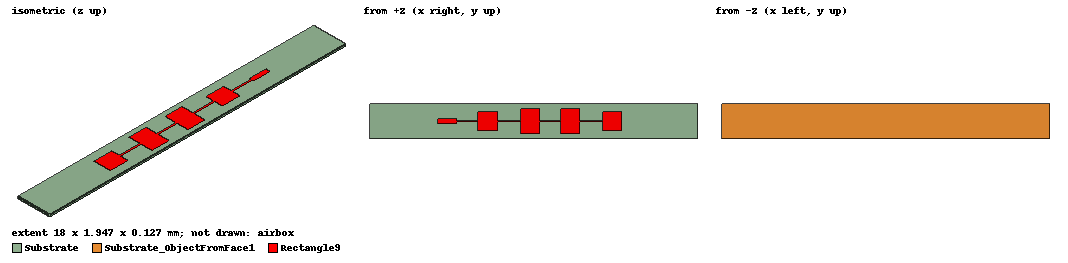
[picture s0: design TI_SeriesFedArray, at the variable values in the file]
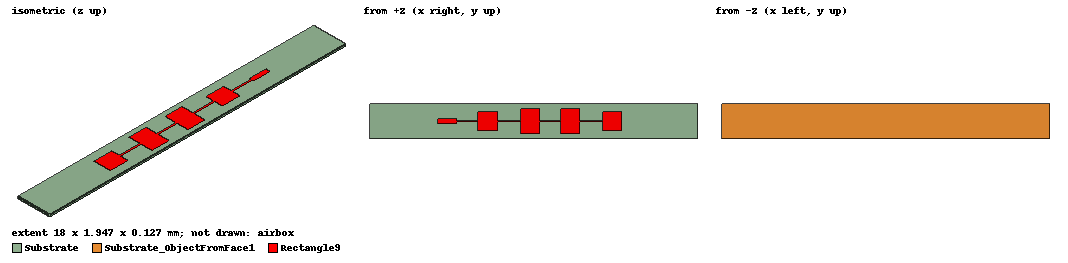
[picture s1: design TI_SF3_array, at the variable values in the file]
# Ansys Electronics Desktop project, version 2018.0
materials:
  vacuum: permittivity=1
  Rogers RO3003 (tm): permittivity=3 dielectric_loss_tangent=0.0013
  copper: permeability=0.999991 conductivity=58000000
  air: permittivity=1.0006 permeability=1.0000004

design HFSSDesign1 (HFSS, DrivenModal, model units mm)
options: open_region{BoundaryType=0 OpFreq=78GHz}
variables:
  sub_len_x = 30mm
  sub_width_y = 3mm
  h = 0.127mm
  L1 = 1.14mm
  Wf = 0.12mm
  Lp = 1.07mm
  W1 = 1.4mm
  L2 = 1.15m
  W2 = 1.28mm
  L3 = 1.16mm
  W3 = 1.07mm
  L4 = 1.16mm
  W4 = 0.8mm
  L5 = 1.17mm
  W5 = 0.31mm
  L6 = 1.43mm
  Lt = 1.12mm
  Wt = 0.55mm
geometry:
  RadiatingSurface [vacuum] = region(absolute_offset=1.2820513mm on all sides)
  Substrate [Rogers RO3003 (tm)] = box(corner=(-sub_len_x/2, -sub_width_y/2, 0mm), size=(sub_len_x, sub_width_y, h))
  GND [Rogers RO3003 (tm)] = object_from(Substrate.face(-z))
  Rectangle1 = rectangle(corner=(-L1/2, -Wf/2, h), x_size=L1, y_size=Wf)
  Rectangle2 = rectangle(corner=(L1/2, -W1/2, h), x_size=Lp, y_size=W1)
  Rectangle1_ObjectFromFace1 = object_from(Rectangle8_ObjectFromFace1_1_1.face(#84))
  Rectangle2_ObjectFromFace1 = object_from(Rectangle8_ObjectFromFace1_1_1.face(#96))
  Rectangle2_ObjectFromFace1_1 = Rectangle2_ObjectFromFace1.duplicate_along_line(step=(-Lp-L1, 0mm, 0mm), total=2)
  Rectangle2_ObjectFromFace1.unite(Rectangle1_ObjectFromFace1, Rectangle2_ObjectFromFace1_1)
  Rectangle2.unite(Rectangle1, Rectangle2_ObjectFromFace1)
  Rectangle3 = rectangle(corner=(Lp+L1/2, -Wf/2, h), x_size=L2, y_size=Wf)
  Rectangle3_ObjectFromFace1 = object_from(Rectangle8_ObjectFromFace1_1_1.face(#152))
  Rectangle3_ObjectFromFace1_1 = Rectangle3_ObjectFromFace1.duplicate_along_line(step=(-2*Lp-L1-L2, 0mm, 0mm), total=2)
  Rectangle3_ObjectFromFace1_1.unite(Rectangle2, Rectangle3_ObjectFromFace1)
  Rectangle3.unite(Rectangle3_ObjectFromFace1_1)
  Rectangle4 = rectangle(corner=(L1/2+Lp+L2, -W2/2, h), x_size=Lp, y_size=W2)
  Rectangle4_ObjectFromFace1 = object_from(Rectangle8_ObjectFromFace1_1_1.face(#194))
  Rectangle4_ObjectFromFace1_1 = Rectangle4_ObjectFromFace1.duplicate_along_line(step=(-2*Lp-2*L2-L1-Lp, 0mm, 0mm), total=2)
  Rectangle4_ObjectFromFace1.unite(Rectangle3, Rectangle4_ObjectFromFace1_1)
  Rectangle4.unite(Rectangle4_ObjectFromFace1)
  Rectangle5 = rectangle(corner=(-L1/2-2*Lp-L2-L3, -Wf/2, h), x_size=L3, y_size=Wf)
  Rectangle6 = rectangle(corner=(-L1/2-3*Lp-L2-L3, -W3/2, h), x_size=Lp, y_size=W3)
  Rectangle5_ObjectFromFace1 = object_from(Rectangle8_ObjectFromFace1_1_1.face(#238))
  Rectangle6_ObjectFromFace1 = object_from(Rectangle8_ObjectFromFace1_1_1.face(#250))
  Rectangle7 = rectangle(corner=(-L1/2-3*Lp-L2-L3-L4, -Wf/2, h), x_size=L4, y_size=Wf)
  Rectangle8 = rectangle(corner=(-L1/2-Lp*4-L2-L3-L4, -W4/2, h), x_size=Lp, y_size=W4)
  Rectangle9 = rectangle(corner=(-Lp*4-L1/2-L2-L3-L4-L5, -Wf/2, h), x_size=L5, y_size=Wf)
  Rectangle10 = rectangle(corner=(-Lp*5-L1/2-L2-L3-L4-L5, -W5/2, h), x_size=Lp, y_size=W5)
  Rectangle7_ObjectFromFace1 = object_from(Rectangle8_ObjectFromFace1_1_1.face(#286))
  Rectangle8_ObjectFromFace1 = object_from(Rectangle8_ObjectFromFace1_1_1.face(#298))
  Rectangle9_ObjectFromFace1 = object_from(Rectangle8_ObjectFromFace1_1_1.face(#310))
  Rectangle10_ObjectFromFace1 = object_from(Rectangle8_ObjectFromFace1_1_1.face(#322))
  Rectangle5_ObjectFromFace1.unite(Rectangle6_ObjectFromFace1)
  Rectangle5.unite(Rectangle6)
  Rectangle7_ObjectFromFace1.unite(Rectangle5_ObjectFromFace1)
  Rectangle7.unite(Rectangle5)
  Rectangle8_ObjectFromFace1.unite(Rectangle7_ObjectFromFace1)
  Rectangle7.unite(Rectangle8)
  Rectangle8_ObjectFromFace1.unite(Rectangle9_ObjectFromFace1)
  Rectangle7.unite(Rectangle9)
  Rectangle8_ObjectFromFace1.unite(Rectangle10_ObjectFromFace1)
  Rectangle7.unite(Rectangle10)
  Rectangle8_ObjectFromFace1_1 = Rectangle8_ObjectFromFace1.duplicate_along_line(step=(7*Lp+L1+2*L2+L3+L4+L5, 0mm, 0mm), total=2)
  Rectangle8_ObjectFromFace1_1.unite(Rectangle4)
  Rectangle8_ObjectFromFace1_1.unite(Rectangle7)
  Rectangle8_ObjectFromFace1_1.unite(Rectangle8_ObjectFromFace1)
  Rectangle8_ObjectFromFace1_1.split(plane=YZ, keep=Both)
  Rectangle8_ObjectFromFace1_1_1 = Rectangle8_ObjectFromFace1_1.duplicate_around_axis(axis=Z, angle=180deg, total=2)
  Rectangle8_ObjectFromFace1_1_1.unite(Rectangle8_ObjectFromFace1_1)
  Rectangle11 = rectangle(corner=(5*Lp+L1/2+L2+L3+L4+L5, -Wf/2, h), x_size=L6, y_size=Wf)
  Rectangle12 = rectangle(corner=(Lp*5+L1/2+L2+L3+L4+L5+L6, -Wt/2, h), x_size=Lt, y_size=Wt)
  Rectangle11_ObjectFromFace1 = object_from(Rectangle8_ObjectFromFace1_1_1.face(#696))
  Rectangle12_ObjectFromFace1 = object_from(Rectangle8_ObjectFromFace1_1_1.face(#708))
  Rectangle12_ObjectFromFace1.unite(Rectangle11_ObjectFromFace1)
  Rectangle12.unite(Rectangle11)
  Rectangle8_ObjectFromFace1_1_1.unite(Rectangle12_ObjectFromFace1)
  Rectangle8_ObjectFromFace1_1_1.unite(Rectangle12)
  Lump_Port = rectangle(corner=(Lp*5+L1/2+L2+L3+L4+L5+L6+Lt, -Wt/2, 0mm), y_size=Wt, z_size=h)
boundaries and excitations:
  AutoOpen1: Radiation Objects=RadiatingSurface
  FiniteCond1: Finite Conductivity Faces=GND.face UseMaterial Material=copper IsInternal
  FiniteCond2: Finite Conductivity Objects=Rectangle8_ObjectFromFace1_1_1 UseMaterial Material=copper IsInternal
  1: Lumped Port Objects=Lump_Port Modes{Mode1{IntLine{middle of Lump_Port.edge(z at corner) -> middle of Lump_Port.edge(z opposite corner)} CharImp=Zpi RenormImp=50ohm}} Impedance=50ohm
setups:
  Auto1: HfssDriven Frequency=78GHz MaxDeltaS=0.02 MaximumPasses=15 MinimumPasses=1 MinimumConvergedPasses=1 PercentRefinement=30 BasisOrder=1 PortAccuracy=2
    sweep Sweep: 76GHz to 81GHz step 0.05GHz; Type=Interpolating InterpTolerance=0.5 InterpMaxSolns=250 InterpUsePortImped=false PassivityErrorTolerance=0.0001
    sweep Single_point: point 78GHz; Type=Discrete
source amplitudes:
  1:1: 1W 0deg
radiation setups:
  3D: Infinite Sphere Theta=0deg..180deg step 2deg Phi=-180deg..180deg step 2deg
  Elevation: Infinite Sphere Theta=-180deg..180deg step 1deg Phi=0deg..90deg step 90deg
  Azimuth: Infinite Sphere Theta=90deg..90deg step 0deg Phi=-180deg..180deg step 1deg
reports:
  S Parameter Plot 1: dB(S(1,1)) vs Freq on Auto1 : Sweep; markers MX1 at x=7.855563e+10
  Gain Plot 1: dB(GainTotal) vs Phi, Theta on Auto1 : LastAdaptive, 3D [Freq=78GHz]
  Gain Plot 3: dB(GainTotal) vs Phi on Auto1 : LastAdaptive, Azimuth [Theta=all Freq=78GHz]
  Z Parameter Plot 1: re(Z(1,1)), im(Z(1,1)) vs Freq on Auto1 : Sweep; markers MX1 at x=7.8203791e+10

design HFSSDesign2 (HFSS, DrivenModal, model units mm)
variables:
  sub_width_y = 3mm
  sub_len_x = 30mm
  h = 0.127mm
  L3 = 1.16mm
  L1 = 1.14mm
  Wf = 0.12mm
  Lp = 1.07mm
  W1 = 1.4mm
  L2 = 1.15m
  W2 = 1.28mm
  L4 = 1.16mm
  W4 = 0.8mm
  W3 = 1.07mm
  Wt = 0.55mm
  L6 = 1.43mm
  W5 = 0.31mm
  Lt = 1.12mm
  L5 = 1.17mm
  labda_by_2 = 7.6923mm
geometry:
  Substrate [Rogers RO3003 (tm)] = box(corner=(-sub_len_x/2, -sub_width_y/2, 0mm), size=(sub_len_x, sub_width_y, h))
  GND [Rogers RO3003 (tm)] = object_from(Substrate.face(2 of 6))
  Rectangle8 = rectangle(corner=(-L1/2-Lp*4-L2-L3-L4, -W4/2, h), x_size=Lp, y_size=W4)
  Rectangle8_ObjectFromFace1 = object_from(Rectangle8_ObjectFromFace1_1_1.face(#389))
  Rectangle7 = rectangle(corner=(-L1/2-3*Lp-L2-L3-L4, -Wf/2, h), x_size=L4, y_size=Wf)
  Rectangle7_ObjectFromFace1 = object_from(Rectangle8_ObjectFromFace1_1_1.face(#364))
  Rectangle5 = rectangle(corner=(-L1/2-2*Lp-L2-L3, -Wf/2, h), x_size=L3, y_size=Wf)
  Rectangle5_ObjectFromFace1 = object_from(Rectangle8_ObjectFromFace1_1_1.face(#310))
  Rectangle6 = rectangle(corner=(-L1/2-3*Lp-L2-L3, -W3/2, h), x_size=Lp, y_size=W3)
  Rectangle6_ObjectFromFace1 = object_from(Rectangle8_ObjectFromFace1_1_1.face(#326))
  Rectangle5_ObjectFromFace1.unite(Rectangle6_ObjectFromFace1)
  Rectangle7_ObjectFromFace1.unite(Rectangle5_ObjectFromFace1)
  Rectangle8_ObjectFromFace1.unite(Rectangle7_ObjectFromFace1)
  Rectangle9 = rectangle(corner=(-Lp*4-L1/2-L2-L3-L4-L5, -Wf/2, h), x_size=L5, y_size=Wf)
  Rectangle9_ObjectFromFace1 = object_from(Rectangle8_ObjectFromFace1_1_1.face(#402))
  Rectangle8_ObjectFromFace1.unite(Rectangle9_ObjectFromFace1)
  Rectangle10 = rectangle(corner=(-Lp*5-L1/2-L2-L3-L4-L5, -W5/2, h), x_size=Lp, y_size=W5)
  Rectangle10_ObjectFromFace1 = object_from(Rectangle8_ObjectFromFace1_1_1.face(#415))
  Rectangle8_ObjectFromFace1.unite(Rectangle10_ObjectFromFace1)
  Rectangle8_ObjectFromFace1_1 = Rectangle8_ObjectFromFace1.duplicate_along_line(step=(7*Lp+L1+2*L2+L3+L4+L5, 0mm, 0mm), total=2)
  Rectangle4 = rectangle(corner=(L1/2+Lp+L2, -W2/2, h), x_size=Lp, y_size=W2)
  Rectangle4_ObjectFromFace1 = object_from(Rectangle8_ObjectFromFace1_1_1.face(#266))
  Rectangle4_ObjectFromFace1_1 = Rectangle4_ObjectFromFace1.duplicate_along_line(step=(-2*Lp-2*L2-L1-Lp, 0mm, 0mm), total=2)
  Rectangle3 = rectangle(corner=(Lp+L1/2, -Wf/2, h), x_size=L2, y_size=Wf)
  Rectangle3_ObjectFromFace1 = object_from(Rectangle8_ObjectFromFace1_1_1.face(#224))
  Rectangle3_ObjectFromFace1_1 = Rectangle3_ObjectFromFace1.duplicate_along_line(step=(-2*Lp-L1-L2, 0mm, 0mm), total=2)
  Rectangle2 = rectangle(corner=(L1/2, -W1/2, h), x_size=Lp, y_size=W1)
  Rectangle2_ObjectFromFace1 = object_from(Rectangle8_ObjectFromFace1_1_1.face(#169))
  Rectangle1 = rectangle(corner=(-L1/2, -Wf/2, h), x_size=L1, y_size=Wf)
  Rectangle1_ObjectFromFace1 = object_from(Rectangle8_ObjectFromFace1_1_1.face(#156))
  Rectangle2_ObjectFromFace1_1 = Rectangle2_ObjectFromFace1.duplicate_along_line(step=(-Lp-L1, 0mm, 0mm), total=2)
  Rectangle2_ObjectFromFace1.unite(Rectangle1_ObjectFromFace1, Rectangle2_ObjectFromFace1_1)
  Rectangle2.unite(Rectangle1, Rectangle2_ObjectFromFace1)
  Rectangle3_ObjectFromFace1_1.unite(Rectangle2, Rectangle3_ObjectFromFace1)
  Rectangle3.unite(Rectangle3_ObjectFromFace1_1)
  Rectangle4_ObjectFromFace1.unite(Rectangle3, Rectangle4_ObjectFromFace1_1)
  Rectangle4.unite(Rectangle4_ObjectFromFace1)
  Rectangle8_ObjectFromFace1_1.unite(Rectangle4)
  Rectangle5.unite(Rectangle6)
  Rectangle7.unite(Rectangle5)
  Rectangle7.unite(Rectangle8)
  Rectangle7.unite(Rectangle9)
  Rectangle7.unite(Rectangle10)
  Rectangle8_ObjectFromFace1_1.unite(Rectangle7)
  Rectangle8_ObjectFromFace1_1.unite(Rectangle8_ObjectFromFace1)
  Rectangle8_ObjectFromFace1_1.split(plane=YZ, keep=Both)
  Rectangle8_ObjectFromFace1_1_1 = Rectangle8_ObjectFromFace1_1.duplicate_around_axis(axis=Z, angle=180deg, total=2)
  Rectangle8_ObjectFromFace1_1_1.unite(Rectangle8_ObjectFromFace1_1)
  Rectangle12 = rectangle(corner=(Lp*5+L1/2+L2+L3+L4+L5+L6, -Wt/2, h), x_size=Lt, y_size=Wt)
  Rectangle12_ObjectFromFace1 = object_from(Rectangle8_ObjectFromFace1_1_1.face(#562))
  Rectangle11 = rectangle(corner=(5*Lp+L1/2+L2+L3+L4+L5, -Wf/2, h), x_size=L6, y_size=Wf)
  Rectangle11_ObjectFromFace1 = object_from(Rectangle8_ObjectFromFace1_1_1.face(#549))
  Rectangle12_ObjectFromFace1.unite(Rectangle11_ObjectFromFace1)
  Rectangle8_ObjectFromFace1_1_1.unite(Rectangle12_ObjectFromFace1)
  Rectangle12.unite(Rectangle11)
  Rectangle8_ObjectFromFace1_1_1.unite(Rectangle12)
  Lump_Port = rectangle(corner=(Lp*5+L1/2+L2+L3+L4+L5+L6+Lt, -Wt/2, 0mm), y_size=Wt, z_size=h)
  [Substrate, GND, Rectangle8_ObjectFromFace1_1_1, Lump_Port].rotate(axis=Z, angle=90deg)
  Box1 [air] = box(corner=(-labda_by_2/2, -50mm, -50mm), size=(labda_by_2, 100mm, 100mm))
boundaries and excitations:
  FiniteCond1: Finite Conductivity Objects=Rectangle8_ObjectFromFace1_1_1 UseMaterial Material=copper IsInternal
  FiniteCond2: Finite Conductivity Objects=GND UseMaterial Material=copper IsInternal
  Master1: Master Faces=Box1.face(-x) CoordSysVector{Box1.vertex(8 of 8) -> Box1.vertex(7 of 8)} ReverseV
  Slave1: Slave Faces=Box1.face(+x) CoordSysVector{Box1.vertex(5 of 8) -> Box1.vertex(6 of 8)} master=Master1 UseScanAngles Phi=0deg Theta=0deg
  Master2: Master Faces=Box1.face(+y) CoordSysVector{Box1.vertex(8 of 8) -> Box1.vertex(5 of 8)}
  Slave2: Slave Faces=Box1.face(-y) CoordSysVector{Box1.vertex(7 of 8) -> Box1.vertex(6 of 8)} ReverseV master=Master2 UseScanAngles Phi=0deg Theta=0deg
  Rad1: Radiation Faces=Box1.face(+z)
  Rad2: Radiation Faces=Box1.face(-z)
  1: Lumped Port Objects=Lump_Port Modes{Mode1{IntLine{middle of Lump_Port.edge(1 of 4) -> middle of Lump_Port.edge(3 of 4)} CharImp=Zpi RenormImp=50ohm}} Impedance=50ohm
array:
  Type=Regular Name=A UseAirObjects RowMasterBnd=Master1 ColumnMasterBnd=Master2 RowDimension=3 ColumnDimension=1 PostProcessRow=1 PostProcessCol=1 Padding=1
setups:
  Setup1: HfssDriven Frequency=78GHz MaxDeltaS=0.02 MaximumPasses=10 MinimumPasses=1 MinimumConvergedPasses=1 PercentRefinement=30 BasisOrder=1 PortAccuracy=2 UseDomains DDMSolverResidual=0.0001
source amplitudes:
  1:1: 1 0deg
  1:2, 1:3: 0 0deg

design TI_SeriesFedArray (HFSS, DrivenModal, model units mm)
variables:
  sub_len_x = 30mm
  sub_width_y = (3.89341/2) mm
  h = 0.127mm
  F2_w = 10.62mil
  A = 39.37mil
  F3_w = 3.94mil
  B1 = 47.34mil
  C1 = 42.52mil
  E1 = 39.38mil
  B2 = 49.21mil
  E2 = 55.12mil
  C2 = 40.95mil
  B3 = 45.27mil
  B4 = 49.21mil
  sub_width_y1 = 3.89mm
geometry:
  Substrate [Rogers RO3003 (tm)] = box(corner=(-(sub_len_x/2)/4, -sub_width_y/2, -h), size=(sub_len_x*0.6, sub_width_y, h))
  Rectangle1 = rectangle(corner=(0mm, -F2_w/2, 0mm), x_size=A, y_size=F2_w)
  Rectangle2 = rectangle(corner=(A, -F3_w/2, 0mm), x_size=B1, y_size=F3_w)
  Rectangle3 = rectangle(corner=(A+B1, -E1/2, 0mm), x_size=C1, y_size=E1)
  Rectangle4 = rectangle(corner=(A+B1+C1, -F3_w/2, 0mm), x_size=B2, y_size=F3_w)
  Rectangle5 = rectangle(corner=(A+B1+C1+B2, -E2/2, 0mm), x_size=C2, y_size=E2)
  Rectangle6 = rectangle(corner=(A+B1+C1+B2+C2, -F3_w/2, 0mm), x_size=B3, y_size=F3_w)
  Rectangle7 = rectangle(corner=(A+B1+C1+B2+C2+B3, -E2/2, 0mm), x_size=C2, y_size=E2)
  Rectangle8 = rectangle(corner=(A+B1+C1+B2+C2+B3+C2, -F3_w/2, 0mm), x_size=B4, y_size=F3_w)
  Rectangle9 = rectangle(corner=(A+B1+C1+B2+C2+B3+C2+B4, -E1/2, 0mm), x_size=C1, y_size=E1)
  Rectangle1_ObjectFromFace1 = object_from(Rectangle9.face(#44))
  Rectangle2_ObjectFromFace1 = object_from(Rectangle2.face(#56))
  Rectangle2.delete()
  Rectangle3_ObjectFromFace1 = object_from(Rectangle9.face(#68))
  Rectangle4_ObjectFromFace1 = object_from(Rectangle4.face(#80))
  Rectangle5_ObjectFromFace1 = object_from(Rectangle4.face(#92))
  Rectangle6_ObjectFromFace1 = object_from(Rectangle9.face(#104))
  Rectangle7_ObjectFromFace1 = object_from(Rectangle9.face(#116))
  Rectangle8_ObjectFromFace1 = object_from(Rectangle9.face(#128))
  Rectangle9_ObjectFromFace1 = object_from(Rectangle9.face(at (9.55243, 0, 0)))
  Rectangle1_ObjectFromFace1.unite(Rectangle2_ObjectFromFace1, Rectangle3_ObjectFromFace1, Rectangle4_ObjectFromFace1, Rectangle5_ObjectFromFace1, Rectangle6_ObjectFromFace1, Rectangle7_ObjectFromFace1, Rectangle8_ObjectFromFace1, Rectangle9_ObjectFromFace1)
  Rectangle1.unite(Rectangle1_ObjectFromFace1)
  Rectangle9.unite(Rectangle8)
  Rectangle9.unite(Rectangle7)
  Rectangle9.unite(Rectangle1)
  Rectangle9.unite(Rectangle6)
  Rectangle4.unite(Rectangle5)
  Rectangle4.delete()
  Rectangle9.unite(Rectangle3)
  Substrate_ObjectFromFace1 [Rogers RO3003 (tm)] = object_from(Substrate.face(-z))
  Rectangle10 = rectangle(corner=(0mm, -F2_w/2, -h), y_size=F2_w, z_size=h)
  Rectangle10_ObjectFromFace1 = object_from(Rectangle10.face(#306))
  Rectangle10.delete()
  airbox [vacuum] = region(absolute_offset: +X=1.2820513mm, -X=1.2820513mm, +Y=0mm, -Y=0mm, +Z=1.2820513mm, -Z=0.28205128mm)
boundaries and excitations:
  FiniteCond1: Finite Conductivity Objects=Rectangle9 UseMaterial Material=copper IsInternal
  FiniteCond2: Finite Conductivity Objects=Substrate_ObjectFromFace1 UseMaterial Material=copper IsInternal
  Master1: Master Faces=airbox.face(+y) CoordSysVector{airbox.vertex(2 of 8) -> airbox.vertex(3 of 8)}
  Slave1: Slave Faces=airbox.face(-y) CoordSysVector{airbox.vertex(1 of 8) -> airbox.vertex(4 of 8)} ReverseV master=Master1 UseScanAngles Phi=0deg Theta=0deg
  Master2: Master Faces=airbox.face(-x) CoordSysVector{airbox.vertex(3 of 8) -> airbox.vertex(4 of 8)}
  Slave2: Slave Faces=airbox.face(+x) CoordSysVector{airbox.vertex(2 of 8) -> airbox.vertex(1 of 8)} ReverseV master=Master2 UseScanAngles Phi=0deg Theta=0deg
  Rad1: Radiation Faces=airbox.face(+z)
  1: Lumped Port Objects=Rectangle10_ObjectFromFace1 Modes{Mode1{IntLine{middle of Rectangle10_ObjectFromFace1.edge(at (0, 0, -0.127)) -> middle of Rectangle10_ObjectFromFace1.edge(at (0, 0, 0))} CharImp=Zpi RenormImp=50ohm}} Impedance=50ohm
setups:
  Setup1: HfssDriven Frequency=77GHz MaxDeltaS=0.02 MaximumPasses=15 MinimumPasses=1 MinimumConvergedPasses=1 PercentRefinement=30 BasisOrder=1 PortAccuracy=2
    sweep Sweep: 76GHz to 81GHz step 0.02GHz; Type=Interpolating InterpTolerance=0.5 InterpMaxSolns=250 InterpUsePortImped=false PassivityErrorTolerance=0.0001
    sweep Sweep1: point 78GHz; Type=Discrete
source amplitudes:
  1:1: 1W 0deg
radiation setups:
  Infinite Sphere1: Infinite Sphere Theta=0deg..180deg step 2deg Phi=-180deg..180deg step 2deg
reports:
  S Parameter Plot 1: dB(S(1,1)) vs Freq on Setup1 : Sweep
  S Parameter Plot 2: dB(S(1,1)) vs Freq on Setup1 : Sweep
  Directivity Plot 1: DirTotal vs Phi, Theta on Setup1 : LastAdaptive, Infinite Sphere1 [Freq=77GHz]
  Gain Plot 1: GainTotal vs Theta on Setup1 : LastAdaptive, Infinite Sphere1 [Theta=0deg Phi=all Freq=77GHz]; dB(GainTotal) vs Phi on Setup1 : LastAdaptive, Infinite Sphere1 [Theta=90deg Freq=77GHz]
  Gain Plot 2: dB(GainTotal) vs Theta on Setup1 : LastAdaptive, Infinite Sphere1 [Theta=0deg,2deg,4deg,6deg,8deg,10deg,12deg,14deg,16deg,18deg,20deg,22deg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 Phi=90deg Freq=77GHz]

design TI_SF3_array (HFSS, Driven Modal (Composite excitation), model units mm)
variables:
  sub_len_x = 30mm
  sub_width_y = (3.89341/2) mm
  h = 0.127mm
  F2_w = 10.62mil
  A = 39.37mil
  F3_w = 3.94mil
  B1 = 47.34mil
  C1 = 42.52mil
  E1 = 39.38mil
  B2 = 49.21mil
  E2 = 55.12mil
  C2 = 40.95mil
  B3 = 45.27mil
  B4 = 49.21mil
  sub_width_y1 = 3.89mm
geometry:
  Substrate [Rogers RO3003 (tm)] = box(corner=(-(sub_len_x/2)/4, -sub_width_y/2, -h), size=(sub_len_x*0.6, sub_width_y, h))
  Rectangle1 = rectangle(corner=(0mm, -F2_w/2, 0mm), x_size=A, y_size=F2_w)
  Rectangle2 = rectangle(corner=(A, -F3_w/2, 0mm), x_size=B1, y_size=F3_w)
  Rectangle3 = rectangle(corner=(A+B1, -E1/2, 0mm), x_size=C1, y_size=E1)
  Rectangle4 = rectangle(corner=(A+B1+C1, -F3_w/2, 0mm), x_size=B2, y_size=F3_w)
  Rectangle5 = rectangle(corner=(A+B1+C1+B2, -E2/2, 0mm), x_size=C2, y_size=E2)
  Rectangle6 = rectangle(corner=(A+B1+C1+B2+C2, -F3_w/2, 0mm), x_size=B3, y_size=F3_w)
  Rectangle7 = rectangle(corner=(A+B1+C1+B2+C2+B3, -E2/2, 0mm), x_size=C2, y_size=E2)
  Rectangle8 = rectangle(corner=(A+B1+C1+B2+C2+B3+C2, -F3_w/2, 0mm), x_size=B4, y_size=F3_w)
  Rectangle9 = rectangle(corner=(A+B1+C1+B2+C2+B3+C2+B4, -E1/2, 0mm), x_size=C1, y_size=E1)
  Rectangle1_ObjectFromFace1 = object_from(Rectangle9.face(#44))
  Rectangle2_ObjectFromFace1 = object_from(Rectangle2.face(#56))
  Rectangle2.delete()
  Rectangle3_ObjectFromFace1 = object_from(Rectangle9.face(#68))
  Rectangle4_ObjectFromFace1 = object_from(Rectangle4.face(#80))
  Rectangle5_ObjectFromFace1 = object_from(Rectangle4.face(#92))
  Rectangle6_ObjectFromFace1 = object_from(Rectangle9.face(#104))
  Rectangle7_ObjectFromFace1 = object_from(Rectangle9.face(#116))
  Rectangle8_ObjectFromFace1 = object_from(Rectangle9.face(#128))
  Rectangle9_ObjectFromFace1 = object_from(Rectangle9.face(at (9.55243, 0, 0)))
  Rectangle1_ObjectFromFace1.unite(Rectangle2_ObjectFromFace1, Rectangle3_ObjectFromFace1, Rectangle4_ObjectFromFace1, Rectangle5_ObjectFromFace1, Rectangle6_ObjectFromFace1, Rectangle7_ObjectFromFace1, Rectangle8_ObjectFromFace1, Rectangle9_ObjectFromFace1)
  Rectangle1.unite(Rectangle1_ObjectFromFace1)
  Rectangle9.unite(Rectangle8)
  Rectangle9.unite(Rectangle7)
  Rectangle9.unite(Rectangle1)
  Rectangle9.unite(Rectangle6)
  Rectangle4.unite(Rectangle5)
  Rectangle4.delete()
  Rectangle9.unite(Rectangle3)
  Substrate_ObjectFromFace1 [Rogers RO3003 (tm)] = object_from(Substrate.face(-z))
  Rectangle10 = rectangle(corner=(0mm, -F2_w/2, -h), y_size=F2_w, z_size=h)
  Rectangle10_ObjectFromFace1 = object_from(Rectangle10.face(#306))
  Rectangle10.delete()
  airbox [vacuum] = region(absolute_offset: +X=1.2820513mm, -X=1.2820513mm, +Y=0mm, -Y=0mm, +Z=1.2820513mm, -Z=0.28205128mm)
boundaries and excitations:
  FiniteCond1: Finite Conductivity Objects=Rectangle9 UseMaterial Material=copper IsInternal
  FiniteCond2: Finite Conductivity Objects=Substrate_ObjectFromFace1 UseMaterial Material=copper IsInternal
  Master1: Master Faces=airbox.face(+y) CoordSysVector{airbox.vertex(2 of 8) -> airbox.vertex(3 of 8)}
  Slave1: Slave Faces=airbox.face(-y) CoordSysVector{airbox.vertex(1 of 8) -> airbox.vertex(4 of 8)} ReverseV master=Master1 UseScanAngles Phi=0deg Theta=0deg
  Master2: Master Faces=airbox.face(-x) CoordSysVector{airbox.vertex(3 of 8) -> airbox.vertex(4 of 8)}
  Slave2: Slave Faces=airbox.face(+x) CoordSysVector{airbox.vertex(2 of 8) -> airbox.vertex(1 of 8)} ReverseV master=Master2 UseScanAngles Phi=0deg Theta=0deg
  Rad1: Radiation Faces=airbox.face(+z)
  1: Lumped Port Objects=Rectangle10_ObjectFromFace1 Modes{Mode1{IntLine{middle of Rectangle10_ObjectFromFace1.edge(at (0, 0, -0.127)) -> middle of Rectangle10_ObjectFromFace1.edge(at (0, 0, 0))} CharImp=Zpi RenormImp=50ohm}} Impedance=50ohm
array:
  Type=Regular Name=A UseAirObjects RowMasterBnd=Master1 ColumnMasterBnd=Master2 RowDimension=3 ColumnDimension=2 PostProcessRow=1 PostProcessCol=1 Padding=3
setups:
  Setup1: HfssDriven Frequency=77GHz MaxDeltaS=0.02 MaximumPasses=15 MinimumPasses=1 MinimumConvergedPasses=1 PercentRefinement=30 BasisOrder=1 PortAccuracy=2 UseDomains DDMSolverResidual=0.0001
    sweep Sweep1: point 78GHz; Type=Discrete
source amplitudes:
  1:1, 1:2, 1:3: 1W 0deg
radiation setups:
  Infinite Sphere1: Infinite Sphere Theta=0deg..180deg step 2deg Phi=-180deg..180deg step 2deg
  Infinite Sphere2: Infinite Sphere Theta=-180deg..180deg step 2deg Phi=0deg..360deg step 2deg
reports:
  Directivity Plot 1: DirTotal vs Phi, Theta on Setup1 : LastAdaptive, Infinite Sphere1 [Freq=77GHz]
  Gain Plot 1: GainTotal vs Theta on Setup1 : LastAdaptive, Infinite Sphere1 [Theta=0deg Phi=all Freq=77GHz]; dB(GainTotal) vs Phi on Setup1 : LastAdaptive, Infinite Sphere1 [Theta=90deg Freq=77GHz]
  Gain Plot 2: dB(GainTotal) vs Theta on Setup1 : LastAdaptive, Infinite Sphere1 [Theta=0deg,2deg,4deg,6deg,8deg,10deg,12deg,14deg,16deg,18deg,20deg,22deg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 Phi=90deg Freq=77GHz]
